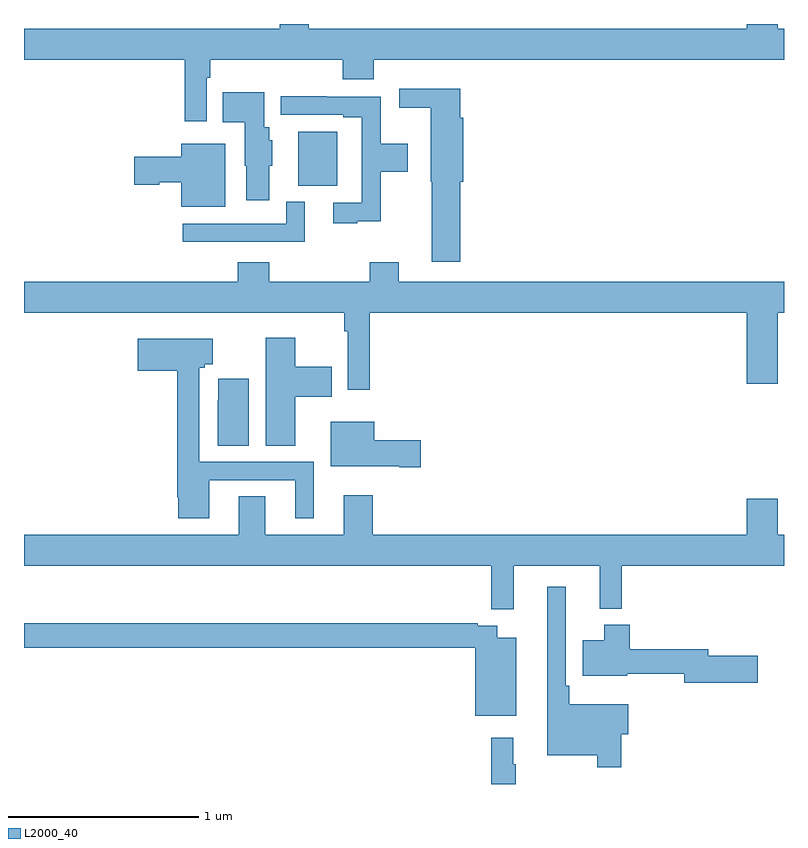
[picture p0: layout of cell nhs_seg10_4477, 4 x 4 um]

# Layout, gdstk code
import gdstk
lib = gdstk.Library(unit=1e-6, precision=1e-09)
def R(c, l, rs):  # rectangles x0, y0, x1, y1
    for r in rs: c.add(gdstk.rectangle(r[:2], r[2:], *l))
def P(c, l, *ps):  # polygons
    for p in ps: c.add(gdstk.Polygon(p, *l))
L2000_40 = (2000, 40)

nhs_seg10_4477 = lib.new_cell('nhs_seg10_4477')
R(nhs_seg10_4477, L2000_40, [(366.443,1303.649,366.649,1303.933)])
P(nhs_seg10_4477, L2000_40, [(365.961,1304.216),(365.981,1304.216),(365.981,1304.312),(366.677,1304.312),(366.677,1304.21),(366.842,1304.21),(366.842,1304.312),(369,1304.312),(369,1304.476),(368.968,1304.476),(368.968,1304.5),(368.804,1304.5),(368.804,1304.476),(366.499,1304.476),(366.499,1304.5),(366.347,1304.5),(366.347,1304.476),(365,1304.476),(365,1304.312),(365.845,1304.312),(365.845,1303.989),(365.961,1303.989)],
  [(367.295,1303.671),(367.313,1303.671),(367.313,1304.007),(367.295,1304.007),(367.295,1304.158),(366.975,1304.158),(366.975,1304.06),(367.142,1304.06),(367.142,1303.671),(367.145,1303.671),(367.145,1303.248),(367.295,1303.248)],
  [(366.292,1303.755),(366.307,1303.755),(366.307,1303.887),(366.292,1303.887),(366.292,1303.956),(366.265,1303.956),(366.265,1304.14),(366.046,1304.14),(366.046,1303.982),(366.161,1303.982),(366.161,1303.755),(366.17,1303.755),(366.17,1303.572),(366.292,1303.572)],
  [(366.755,1303.463),(366.878,1303.463),(366.878,1303.723),(367.021,1303.723),(367.021,1303.87),(366.878,1303.87),(366.878,1304.118),(366.593,1304.118),(366.593,1304.12),(366.351,1304.12),(366.351,1304.022),(366.68,1304.022),(366.68,1304.01),(366.777,1304.01),(366.777,1303.56),(366.627,1303.56),(366.627,1303.452),(366.755,1303.452)],
  [(366.058,1303.87),(365.828,1303.87),(365.828,1303.802),(365.58,1303.802),(365.58,1303.655),(365.712,1303.655),(365.712,1303.667),(365.828,1303.667),(365.828,1303.538),(366.058,1303.538)],
  [(366.478,1303.564),(366.381,1303.564),(366.381,1303.449),(365.835,1303.449),(365.835,1303.353),(366.478,1303.353)],
  [(366.821,1302.98),(368.804,1302.98),(368.804,1302.606),(368.968,1302.606),(368.968,1302.98),(369,1302.98),(369,1303.144),(366.973,1303.144),(366.973,1303.246),(366.821,1303.246),(366.821,1303.144),(366.29,1303.144),(366.29,1303.246),(366.125,1303.246),(366.125,1303.144),(365,1303.144),(365,1302.98),(366.685,1302.98),(366.685,1302.884),(366.705,1302.884),(366.705,1302.576),(366.821,1302.576)],
  [(366.427,1302.539),(366.62,1302.539),(366.62,1302.697),(366.427,1302.697),(366.427,1302.85),(366.272,1302.85),(366.272,1302.28),(366.427,1302.28)],
  [(365.974,1302.099),(366.428,1302.099),(366.428,1301.898),(366.526,1301.898),(366.526,1302.195),(365.922,1302.195),(365.922,1302.69),(365.95,1302.69),(365.95,1302.709),(365.993,1302.709),(365.993,1302.844),(365.598,1302.844),(365.598,1302.674),(365.806,1302.674),(365.806,1302.01),(365.813,1302.01),(365.813,1301.898),(365.974,1301.898)],
  [(366.184,1302.634),(366.022,1302.634),(366.022,1302.521),(366.02,1302.521),(366.02,1302.28),(366.184,1302.28)],
  [(367.087,1302.308),(366.844,1302.308),(366.844,1302.406),(366.614,1302.406),(366.614,1302.173),(366.974,1302.173),(366.974,1302.166),(367.087,1302.166)],
  [(367.577,1301.648),(368.03,1301.648),(368.03,1301.423),(368.147,1301.423),(368.147,1301.648),(369,1301.648),(369,1301.812),(368.968,1301.812),(368.968,1302.001),(368.804,1302.001),(368.804,1301.812),(366.836,1301.812),(366.836,1302.019),(366.683,1302.019),(366.683,1301.812),(366.271,1301.812),(366.271,1302.014),(366.131,1302.014),(366.131,1301.812),(365,1301.812),(365,1301.648),(367.459,1301.648),(367.459,1301.419),(367.577,1301.419)],
  [(368.144,1300.763),(368.179,1300.763),(368.179,1300.921),(367.871,1300.921),(367.871,1301.017),(367.851,1301.017),(367.851,1301.539),(367.754,1301.539),(367.754,1300.652),(368.016,1300.652),(368.016,1300.587),(368.144,1300.587)],
  [(367.591,1301.269),(367.492,1301.269),(367.492,1301.334),(367.388,1301.334),(367.388,1301.347),(365,1301.347),(365,1301.218),(367.376,1301.218),(367.376,1300.859),(367.591,1300.859)],
  [(368.863,1301.175),(368.602,1301.175),(368.602,1301.209),(368.189,1301.209),(368.189,1301.338),(368.054,1301.338),(368.054,1301.257),(367.94,1301.257),(367.94,1301.069),(368.176,1301.069),(368.176,1301.08),(368.474,1301.08),(368.474,1301.033),(368.863,1301.033)],
  [(367.588,1300.604),(367.576,1300.604),(367.576,1300.744),(367.459,1300.744),(367.459,1300.5),(367.588,1300.5)])

lib.write_gds('nhs_seg10_4477.gds')
